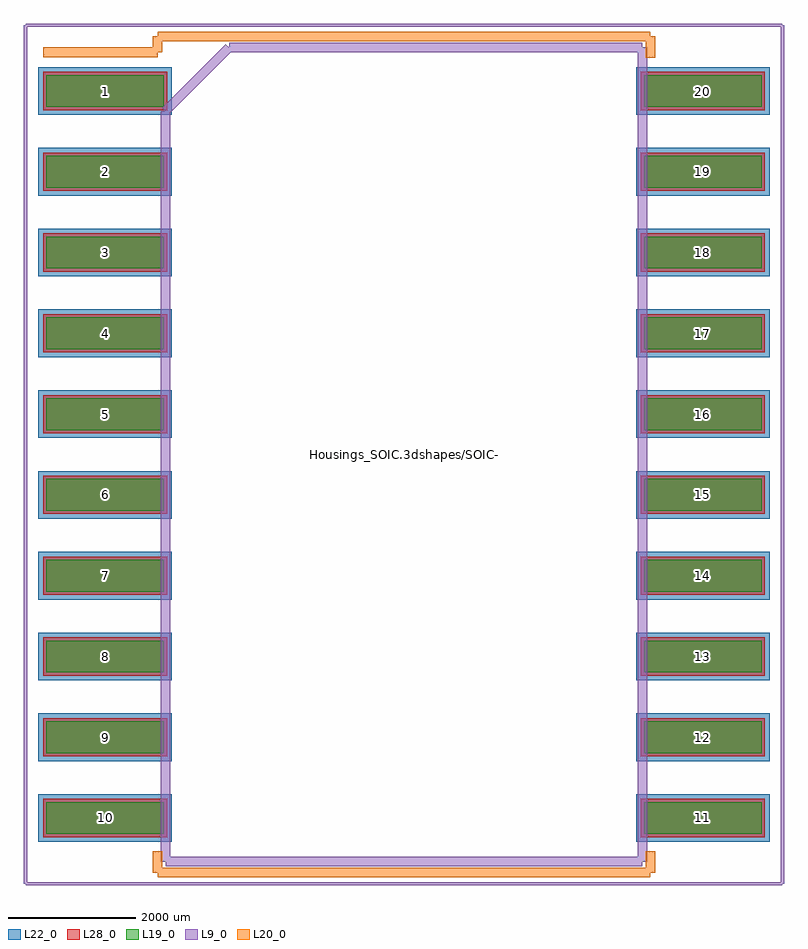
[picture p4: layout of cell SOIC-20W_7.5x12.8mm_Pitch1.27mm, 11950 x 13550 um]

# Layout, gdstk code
import gdstk
lib = gdstk.Library(unit=1e-6, precision=1e-09)
def R(c, l, rs):  # rectangles x0, y0, x1, y1
    for r in rs: c.add(gdstk.rectangle(r[:2], r[2:], *l))
def A(c, l, x, y, w, h, nx, ny, dx, dy):  # array of equal rectangles
    R(c, l, [(x+i*dx, y+j*dy, x+i*dx+w, y+j*dy+h) for i in range(nx) for j in range(ny)])
L9_0 = (9, 0)
L19_0 = (19, 0)
L20_0 = (20, 0)
L22_0 = (22, 0)
L28_0 = (28, 0)

soic_20w_7_5x12_8mm_pitc = lib.new_cell('SOIC-20W_7.5x12.8mm_Pitch1.27mm')
A(soic_20w_7_5x12_8mm_pitc, L19_0, -5625, -5965, 1850, 500, 1, 10, 0, 1270)
A(soic_20w_7_5x12_8mm_pitc, L19_0, 3775, -5965, 1850, 500, 1, 10, 0, 1270)
A(soic_20w_7_5x12_8mm_pitc, L22_0, -5750, -6090, 2100, 750, 1, 10, 0, 1270)
A(soic_20w_7_5x12_8mm_pitc, L22_0, 3650, -6090, 2100, 750, 1, 10, 0, 1270)
A(soic_20w_7_5x12_8mm_pitc, L28_0, -5675, -6015, 1950, 600, 1, 10, 0, 1270)
A(soic_20w_7_5x12_8mm_pitc, L28_0, 3725, -6015, 1950, 600, 1, 10, 0, 1270)
soic_20w_7_5x12_8mm_pitc.add(gdstk.FlexPath([(-3875,6325),(-5675,6325)], 149.998, ends="flush", simple_path=True, layer=20, datatype=0))  # L20_0
soic_20w_7_5x12_8mm_pitc.add(gdstk.FlexPath([(-3875,-6575),(3875,-6575)], 149.998, ends="flush", simple_path=True, layer=20, datatype=0))  # L20_0
soic_20w_7_5x12_8mm_pitc.add(gdstk.FlexPath([(-3875,6575),(3875,6575)], 149.998, ends="flush", simple_path=True, layer=20, datatype=0))  # L20_0
soic_20w_7_5x12_8mm_pitc.add(gdstk.FlexPath([(-3875,-6575),(-3875,-6240)], 149.998, ends="flush", simple_path=True, layer=20, datatype=0))  # L20_0
soic_20w_7_5x12_8mm_pitc.add(gdstk.FlexPath([(3875,-6575),(3875,-6240)], 149.998, ends="flush", simple_path=True, layer=20, datatype=0))  # L20_0
soic_20w_7_5x12_8mm_pitc.add(gdstk.FlexPath([(3875,6575),(3875,6240)], 149.998, ends="flush", simple_path=True, layer=20, datatype=0))  # L20_0
soic_20w_7_5x12_8mm_pitc.add(gdstk.FlexPath([(-3875,6575),(-3875,6325)], 149.998, ends="flush", simple_path=True, layer=20, datatype=0))  # L20_0
soic_20w_7_5x12_8mm_pitc.add(gdstk.FlexPath([(-5950,-6750),(5950,-6750)], 50, ends="flush", simple_path=True, layer=9, datatype=0))  # L9_0
soic_20w_7_5x12_8mm_pitc.add(gdstk.FlexPath([(-5950,6750),(5950,6750)], 50, ends="flush", simple_path=True, layer=9, datatype=0))  # L9_0
soic_20w_7_5x12_8mm_pitc.add(gdstk.FlexPath([(5950,6750),(5950,-6750)], 50, ends="flush", simple_path=True, layer=9, datatype=0))  # L9_0
soic_20w_7_5x12_8mm_pitc.add(gdstk.FlexPath([(-5950,6750),(-5950,-6750)], 50, ends="flush", simple_path=True, layer=9, datatype=0))  # L9_0
soic_20w_7_5x12_8mm_pitc.add(gdstk.FlexPath([(-3750,5400),(-2750,6400)], 149.998, ends="flush", simple_path=True, layer=9, datatype=0))  # L9_0
soic_20w_7_5x12_8mm_pitc.add(gdstk.FlexPath([(-3750,-6400),(-3750,5400)], 149.998, ends="flush", simple_path=True, layer=9, datatype=0))  # L9_0
soic_20w_7_5x12_8mm_pitc.add(gdstk.FlexPath([(3750,-6400),(-3750,-6400)], 149.998, ends="flush", simple_path=True, layer=9, datatype=0))  # L9_0
soic_20w_7_5x12_8mm_pitc.add(gdstk.FlexPath([(3750,6400),(3750,-6400)], 149.998, ends="flush", simple_path=True, layer=9, datatype=0))  # L9_0
soic_20w_7_5x12_8mm_pitc.add(gdstk.FlexPath([(-2750,6400),(3750,6400)], 149.998, ends="flush", simple_path=True, layer=9, datatype=0))  # L9_0
soic_20w_7_5x12_8mm_pitc.add(gdstk.Label('Housings_SOIC.3dshapes/SOIC-20_7.5x12.8mm_Pitch1.27mm.wrl', (0,0), layer=12, texttype=0))
soic_20w_7_5x12_8mm_pitc.add(gdstk.Label('20', (4700,5715), layer=28, texttype=0))
soic_20w_7_5x12_8mm_pitc.add(gdstk.Label('19', (4700,4445), layer=28, texttype=0))
soic_20w_7_5x12_8mm_pitc.add(gdstk.Label('18', (4700,3175), layer=28, texttype=0))
soic_20w_7_5x12_8mm_pitc.add(gdstk.Label('17', (4700,1905), layer=28, texttype=0))
soic_20w_7_5x12_8mm_pitc.add(gdstk.Label('16', (4700,635), layer=28, texttype=0))
soic_20w_7_5x12_8mm_pitc.add(gdstk.Label('15', (4700,-635), layer=28, texttype=0))
soic_20w_7_5x12_8mm_pitc.add(gdstk.Label('14', (4700,-1905), layer=28, texttype=0))
soic_20w_7_5x12_8mm_pitc.add(gdstk.Label('13', (4700,-3175), layer=28, texttype=0))
soic_20w_7_5x12_8mm_pitc.add(gdstk.Label('12', (4700,-4445), layer=28, texttype=0))
soic_20w_7_5x12_8mm_pitc.add(gdstk.Label('11', (4700,-5715), layer=28, texttype=0))
soic_20w_7_5x12_8mm_pitc.add(gdstk.Label('10', (-4700,-5715), layer=28, texttype=0))
soic_20w_7_5x12_8mm_pitc.add(gdstk.Label('9', (-4700,-4445), layer=28, texttype=0))
soic_20w_7_5x12_8mm_pitc.add(gdstk.Label('8', (-4700,-3175), layer=28, texttype=0))
soic_20w_7_5x12_8mm_pitc.add(gdstk.Label('7', (-4700,-1905), layer=28, texttype=0))
soic_20w_7_5x12_8mm_pitc.add(gdstk.Label('6', (-4700,-635), layer=28, texttype=0))
soic_20w_7_5x12_8mm_pitc.add(gdstk.Label('5', (-4700,635), layer=28, texttype=0))
soic_20w_7_5x12_8mm_pitc.add(gdstk.Label('4', (-4700,1905), layer=28, texttype=0))
soic_20w_7_5x12_8mm_pitc.add(gdstk.Label('3', (-4700,3175), layer=28, texttype=0))
soic_20w_7_5x12_8mm_pitc.add(gdstk.Label('2', (-4700,4445), layer=28, texttype=0))
soic_20w_7_5x12_8mm_pitc.add(gdstk.Label('1', (-4700,5715), layer=28, texttype=0))
soic_20w_7_5x12_8mm_pitc.add(gdstk.Label('type', (0,-7500), layer=9, texttype=0))
soic_20w_7_5x12_8mm_pitc.add(gdstk.Label('devicename', (0,7500), layer=9, texttype=0))

lib.write_gds('SOIC-20W_7.5x12.8mm_Pitch1.27mm.gds')
